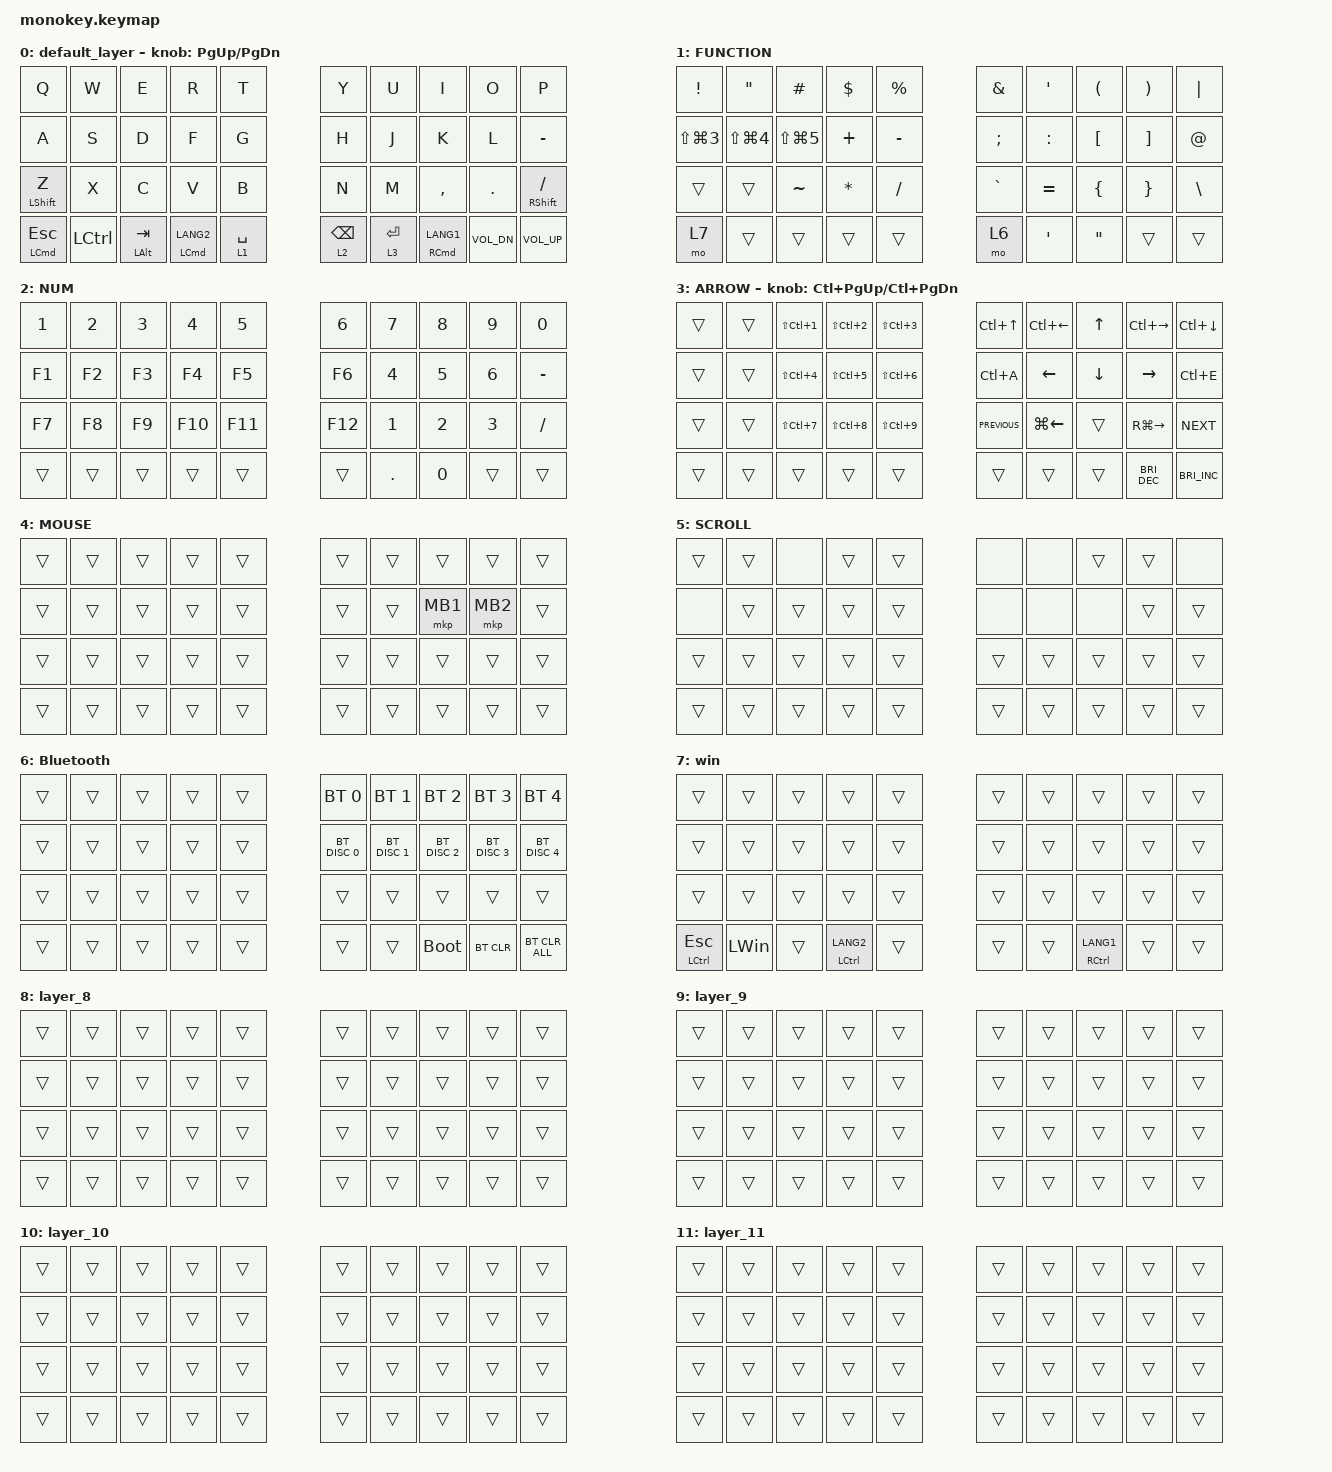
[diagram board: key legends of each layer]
#include <behaviors.dtsi>
#include <dt-bindings/zmk/bt.h>
#include <dt-bindings/zmk/keys.h>
#include <dt-bindings/zmk/pointing.h>

#define MOUSE 4
#define SCROLL 5
#define NUM 6

&mt {
    flavor = "balanced";
    quick-tap-ms = <300>;
};

&lt { quick-tap-ms = <300>; };

/ {
    combos {
        compatible = "zmk,combos";

        scroll {
            bindings = <&mo 5>;
            key-positions = <17 18>;
        };

        mb3 {
            bindings = <&mkp MB3>;
            key-positions = <19 18>;
        };
    };

    behaviors {
        right_click: right_click_behavior {
            compatible = "zmk,behavior-mouse-key";
            label = "RIGHT_CLICK";
            #binding-cells = <0>;

            // 右クリックは通常 MB2 に対応（ZMKの標準定義）

            bindings = <&mkp MB2>;
        };
    };

    keymap {
        compatible = "zmk,keymap";

        default_layer {
            bindings = <
&kp Q             &kp W      &kp E             &kp R                   &kp T                                      &kp Y                    &kp U  &kp I      &kp O         &kp P
&kp A             &kp S      &kp D             &kp F                   &kp G                                      &kp H                    &kp J  &kp K      &kp L         &kp MINUS
&mt LEFT_SHIFT Z  &kp X      &kp C             &kp V                   &kp B                                      &kp N                    &kp M  &kp COMMA  &kp PERIOD    &mt RIGHT_SHIFT SLASH
&mt LCMD ESCAPE   &kp LCTRL  &mt LEFT_ALT TAB  &mt LEFT_COMMAND LANG2  &lt 1 SPACE  &lt 2 BACKSPACE  &lt 3 ENTER  &mt RIGHT_COMMAND LANG1                    &kp C_VOL_DN  &kp C_VOLUME_UP
            >;

            sensor-bindings = <&inc_dec_kp PG_UP PAGE_DOWN>;
        };

        FUNCTION {
            bindings = <
&kp EXCLAMATION       &kp DOUBLE_QUOTES     &kp HASH        &kp DOLLAR  &kp PERCENT                           &kp AMPERSAND      &kp SINGLE_QUOTE  &kp LEFT_PARENTHESIS  &kp RIGHT_PARENTHESIS  &kp PIPE
&kp LS(LG(NUMBER_3))  &kp LS(LG(NUMBER_4))  &kp LS(LG(N5))  &kp PLUS    &kp MINUS                             &kp SEMI           &kp COLON         &kp LEFT_BRACKET      &kp RIGHT_BRACKET      &kp AT
&trans                &trans                &kp TILDE       &kp ASTRK   &kp SLASH                             &kp GRAVE          &kp EQUAL         &kp LEFT_BRACE        &kp RIGHT_BRACE        &kp BACKSLASH
&mo 7                 &trans                &trans          &trans      &trans       &mo 6  &kp SINGLE_QUOTE  &kp DOUBLE_QUOTES                                          &trans                 &trans
            >;
        };

        NUM {
            bindings = <
&kp NUMBER_1  &kp NUMBER_2  &kp NUMBER_3  &kp NUMBER_4  &kp NUMBER_5                      &kp NUMBER_6  &kp NUMBER_7  &kp NUMBER_8  &kp NUMBER_9  &kp NUMBER_0
&kp F1        &kp F2        &kp F3        &kp F4        &kp F5                            &kp F6        &kp NUMBER_4  &kp NUMBER_5  &kp NUMBER_6  &kp MINUS
&kp F7        &kp F8        &kp F9        &kp F10       &kp F11                           &kp F12       &kp NUMBER_1  &kp NUMBER_2  &kp NUMBER_3  &kp SLASH
&trans        &trans        &trans        &trans        &trans        &trans  &kp PERIOD  &kp N0                                    &trans        &trans
            >;
        };

        ARROW {
            bindings = <
&trans  &trans  &kp LS(LC(NUMBER_1))  &kp LS(LC(NUMBER_2))  &kp LS(LC(NUMBER_3))                  &kp LC(UP_ARROW)  &kp LC(LEFT_ARROW)  &kp UP_ARROW    &kp LC(RIGHT)    &kp LC(DOWN_ARROW)
&trans  &trans  &kp LS(LC(NUMBER_4))  &kp LS(LC(N5))        &kp LS(LC(NUMBER_6))                  &kp LC(A)         &kp LEFT_ARROW      &kp DOWN_ARROW  &kp RIGHT_ARROW  &kp LC(E)
&trans  &trans  &kp LS(LC(N7))        &kp LS(LC(N8))        &kp LS(LC(N9))                        &kp C_PREVIOUS    &kp LG(LEFT)        &trans          &kp RG(RIGHT)    &kp C_NEXT
&trans  &trans  &trans                &trans                &trans                &trans  &trans  &trans                                                &kp C_BRI_DEC    &kp C_BRI_INC
            >;

            sensor-bindings = <&inc_dec_kp LC(PAGE_UP) LC(PAGE_DOWN)>;
        };

        MOUSE {
            bindings = <
&trans  &trans  &trans  &trans  &trans                  &trans  &trans  &trans    &trans    &trans
&trans  &trans  &trans  &trans  &trans                  &trans  &trans  &mkp MB1  &mkp MB2  &trans
&trans  &trans  &trans  &trans  &trans                  &trans  &trans  &trans    &trans    &trans
&trans  &trans  &trans  &trans  &trans  &trans  &trans  &trans                    &trans    &trans
            >;
        };

        SCROLL {
            bindings = <
&trans  &trans  &none   &trans  &trans                  &none   &none   &trans  &trans  &none
&none   &trans  &trans  &trans  &trans                  &none   &none   &none   &trans  &trans
&trans  &trans  &trans  &trans  &trans                  &trans  &trans  &trans  &trans  &trans
&trans  &trans  &trans  &trans  &trans  &trans  &trans  &trans                  &trans  &trans
            >;
        };

        Bluetooth {
            bindings = <
&trans  &trans  &trans  &trans  &trans                  &bt BT_SEL 0   &bt BT_SEL 1   &bt BT_SEL 2   &bt BT_SEL 3   &bt BT_SEL 4
&trans  &trans  &trans  &trans  &trans                  &bt BT_DISC 0  &bt BT_DISC 1  &bt BT_DISC 2  &bt BT_DISC 3  &bt BT_DISC 4
&trans  &trans  &trans  &trans  &trans                  &trans         &trans         &trans         &trans         &trans
&trans  &trans  &trans  &trans  &trans  &trans  &trans  &bootloader                                  &bt BT_CLR     &bt BT_CLR_ALL
            >;
        };

        win {
            bindings = <
&trans                   &trans        &trans  &trans                  &trans                  &trans                   &trans  &trans  &trans  &trans
&trans                   &trans        &trans  &trans                  &trans                  &trans                   &trans  &trans  &trans  &trans
&trans                   &trans        &trans  &trans                  &trans                  &trans                   &trans  &trans  &trans  &trans
&mt LEFT_CONTROL ESCAPE  &kp LEFT_WIN  &trans  &mt LEFT_CONTROL LANG2  &trans  &trans  &trans  &mt RIGHT_CONTROL LANG1                  &trans  &trans
            >;
        };

        layer_8 {
            bindings = <
&trans  &trans  &trans  &trans  &trans                  &trans  &trans  &trans  &trans  &trans
&trans  &trans  &trans  &trans  &trans                  &trans  &trans  &trans  &trans  &trans
&trans  &trans  &trans  &trans  &trans                  &trans  &trans  &trans  &trans  &trans
&trans  &trans  &trans  &trans  &trans  &trans  &trans  &trans                  &trans  &trans
            >;
        };

        layer_9 {
            bindings = <
&trans  &trans  &trans  &trans  &trans                  &trans  &trans  &trans  &trans  &trans
&trans  &trans  &trans  &trans  &trans                  &trans  &trans  &trans  &trans  &trans
&trans  &trans  &trans  &trans  &trans                  &trans  &trans  &trans  &trans  &trans
&trans  &trans  &trans  &trans  &trans  &trans  &trans  &trans                  &trans  &trans
            >;
        };

        layer_10 {
            bindings = <
&trans  &trans  &trans  &trans  &trans                  &trans  &trans  &trans  &trans  &trans
&trans  &trans  &trans  &trans  &trans                  &trans  &trans  &trans  &trans  &trans
&trans  &trans  &trans  &trans  &trans                  &trans  &trans  &trans  &trans  &trans
&trans  &trans  &trans  &trans  &trans  &trans  &trans  &trans                  &trans  &trans
            >;
        };

        layer_11 {
            bindings = <
&trans  &trans  &trans  &trans  &trans                  &trans  &trans  &trans  &trans  &trans
&trans  &trans  &trans  &trans  &trans                  &trans  &trans  &trans  &trans  &trans
&trans  &trans  &trans  &trans  &trans                  &trans  &trans  &trans  &trans  &trans
&trans  &trans  &trans  &trans  &trans  &trans  &trans  &trans                  &trans  &trans
            >;
        };
    };
};
